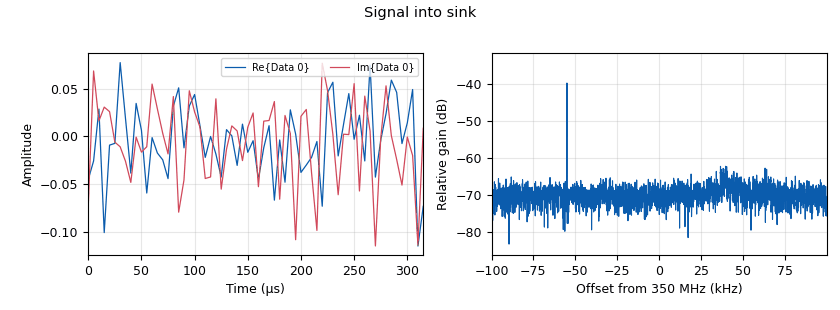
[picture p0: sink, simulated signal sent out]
options:
  parameters:
    author: ECE 448
    description: 'L17: makes the Simulated fan-remote recording L17-fan-remote.sigmf-data and .sigmf-meta: OOK, 3-chip PWM, five buttons pressed once each. No hardware; transmits nothing.'
    generate_options: no_gui
    id: L17_fan_remote_gen
    output_language: python
    run_options: run
    title: L17 - Simulated Fan Remote Generator
  states: {}

blocks:
- name: addr
  id: variable
  parameters:
    value: '0xA6'
  states: {}
- name: chip_len
  id: variable
  parameters:
    value: '80'
  states: {}
- name: chips
  id: variable
  parameters:
    value: '[0]*625 + sum((frame(c)*6 + [0]*625 for c in cmds), [])'
  states: {}
- name: cmds
  id: variable
  parameters:
    value: '[0x1, 0x2, 0x3, 0x4, 0x5]'
  states: {}
- name: frame
  id: variable
  parameters:
    value: 'lambda c: sum((pat[((addr << 8 | c << 4 | (c ^ 0xF)) >> (15 - i)) & 1] for i in range(16)), []) + [0]*30'
  states: {}
- name: pat
  id: variable
  parameters:
    value: '{0: [1, 0, 0], 1: [1, 1, 0]}'
  states: {}
- name: samp_rate
  id: variable
  parameters:
    value: '200000'
  states: {}
- name: add
  id: blocks_add_xx
  parameters:
    num_inputs: '3'
    type: complex
  states: {}
- name: carrier
  id: analog_sig_source_x
  parameters:
    amp: '1'
    freq: '40000'
    offset: '0'
    phase: '0'
    samp_rate: samp_rate
    type: complex
    waveform: analog.GR_COS_WAVE
  states: {}
- name: f2c
  id: blocks_float_to_complex
  parameters: {}
  states: {}
- name: head
  id: blocks_head
  parameters:
    num_items: len(chips)*chip_len
    type: complex
  states: {}
- name: mult
  id: blocks_multiply_xx
  parameters:
    type: complex
  states: {}
- name: noise
  id: analog_noise_source_x
  parameters:
    amp: '0.05'
    noise_type: analog.GR_GAUSSIAN
    seed: '17'
    type: complex
  states: {}
- name: other
  id: analog_sig_source_x
  parameters:
    amp: '0.03'
    freq: '-55000'
    offset: '0'
    phase: '0'
    samp_rate: samp_rate
    type: complex
    waveform: analog.GR_COS_WAVE
  states: {}
- name: rep
  id: blocks_repeat
  parameters:
    interp: chip_len
    type: float
  states: {}
- name: sink
  id: blocks_sigmf_sink_minimal
  parameters:
    author: ECE 448
    center_freq: 350e6
    description: 'Simulated fan remote, OOK. Buttons pressed once each, in order: Light, Fan Off, Low, Medium, High.'
    filename: L17-fan-remote
    hw_info: Simulated in GNU Radio; no radio
    sample_rate: samp_rate
    type: complex float (fc32_le)
  states: {}
- name: vsrc
  id: blocks_vector_source_x
  parameters:
    repeat: 'False'
    type: float
    vector: chips
  states: {}

connections:
- [add, '0', head, '0']
- [carrier, '0', mult, '1']
- [f2c, '0', mult, '0']
- [head, '0', sink, '0']
- [mult, '0', add, '0']
- [noise, '0', add, '2']
- [other, '0', add, '1']
- [rep, '0', f2c, '0']
- [vsrc, '0', rep, '0']

metadata:
  file_format: 1
  grc_version: 3.10.9.2
